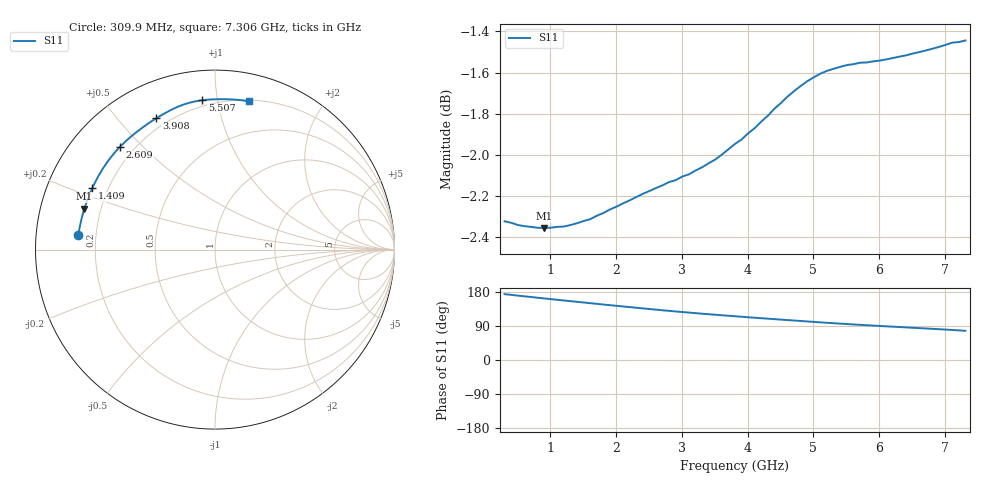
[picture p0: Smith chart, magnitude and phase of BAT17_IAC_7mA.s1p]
! Infineon Technologies  Discrete & RF Semiconductors
! BAT17
! IAC = 7 mA
! One-Port S-Parameters
# Hz  S  MA  R  50
!f  S11
!Hz  Mag  Ang
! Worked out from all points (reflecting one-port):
!   71 points, 309.9 MHz to 7.306 GHz, reference 50 ohm
!   lowest |S11| = -2.4 dB at 909.5 MHz (marker M1), VSWR 7.42, Z = 6.89 + j7.52 ohm
!   phase of S11 starts at 174 deg and turns -97 deg over the sweep
!   S11 on the Smith chart (normalised r, x): 309.9 MHz: 0.13, +0.05; 1.409 GHz: 0.14, +0.23; 2.609 GHz: 0.15, +0.43; 3.908 GHz: 0.16, +0.64; 5.507 GHz: 0.16, +0.90; 7.306 GHz: 0.21, +1.23
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3.0985e8  0.7653 173.8
6.097e8  0.7632 168.1
9.0955e8  0.7625 162.6
1.2094e9  0.7631 157.1
1.4093e9  0.7645 153.5
1.70915e9  0.7677 148.2
2.009e9  0.7716 142.9
2.10895e9  0.773 141.3
2.30885e9  0.7758 137.8
2.6087e9  0.7797 132.9
2.70865e9  0.7809 131.2
3.0085e9  0.7847 126.6
3.30835e9  0.7888 122.2
3.8081e9  0.7992 115.4
3.90805e9  0.8012 114.1
4.4078e9  0.8151 107.8
4.70765e9  0.8232 104.2
4.90755e9  0.8278 101.7
5.10745e9  0.8313 99.3
5.4073e9  0.8344 95.9
5.50725e9  0.8352 94.9
5.6072e9  0.8357 93.8
6.007e9  0.8374 89.8
6.50675e9  0.8406 85.1
6.90655e9  0.8438 81.3
7.0065e9  0.8447 80.2
7.10645e9  0.8458 79.3
7.30635e9  0.8468 77.2
